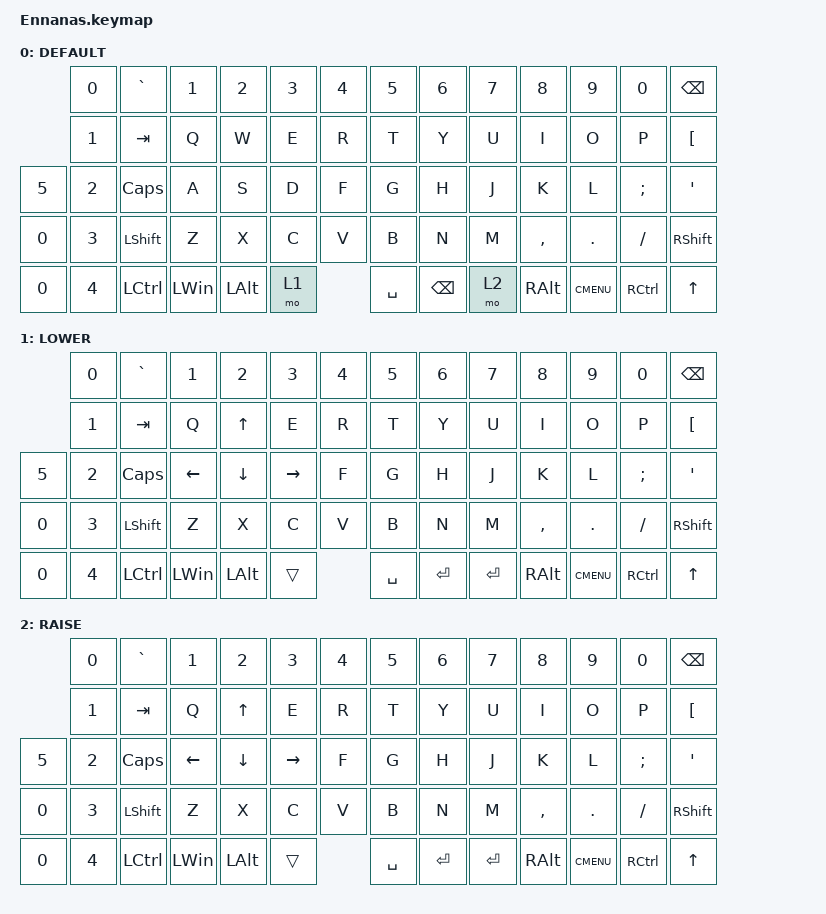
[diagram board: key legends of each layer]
#include <behaviors.dtsi>
#include <dt-bindings/zmk/keys.h>
#define DEFAULT 0
#define LOWER   1
#define RAISE   2
 / {
        keymap {
                compatible = "zmk,keymap";

                DEFAULT {
// -------------------------------------------------------------------------------------------------
//         |  N0  |   | `    |  N1  |  N2  |  N3  |  N4  |  N5   |      |  N6  |  N7  |  N8  |  N9  |  N0   | BSPC  |
//         |  N1  |   | TAB  |  Q   |  W   |  E   |  R   |  T    |      |  Y   |  U   |  I   |  O   |  P    |  .    |
// |  N5   |  N2  |   | CAPS |  A   |  S   |  D   |  F   |  G    |      |  H   |  J   |  K   |  L   |  ;    | '     |
// |  N0   |  N3  |   | SHFT |  Z   |  X   |  C   |  V   |  B    |      |  N   |  M   |  ,   |  .   |  /    | SHFT  |
// |  N0   |  N4  |   | CTRL | WIN  | ALT  |             | SPACE |      | BSPC | SPACE| ALT  | MENU | RCTRL | UP_ARROW


                        bindings = <
        &kp N0   &kp GRAVE   &kp N1    &kp N2   &kp N3   &kp N4   &kp N5          &kp N6   &kp N7    &kp N8    &kp N9       &kp N0     &kp BSPC
        &kp N1   &kp TAB     &kp Q     &kp W    &kp E    &kp R    &kp T           &kp Y    &kp U     &kp I     &kp O        &kp P      &kp LBKT    
&kp N5  &kp N2   &kp CAPS    &kp A     &kp S    &kp D    &kp F    &kp G           &kp H    &kp J     &kp K     &kp L        &kp SCLN   &kp QUOT
&kp N0  &kp N3   &kp LSHFT   &kp Z     &kp X    &kp C    &kp V    &kp B           &kp N    &kp M     &kp COMMA &kp DOT      &kp FSLH   &kp RSHFT
&kp N0  &kp N4   &kp LCTRL   &kp LWIN  &kp LALT    &mo 1          &kp SPACE       &kp BSPC &mo 2     &kp RALT  &kp K_CMENU  &kp RCTRL  &kp UP_ARROW
                        >;
                };

                LOWER {
// -------------------------------------------------------------------------------------------------
//         |  N0  |   | `    |  N1  |  N2  |  N3  |  N4  |  N5   |      |  N6  |  N7  |  N8  |  N9  |  N0   | BSPC  |
//         |  N1  |   | TAB  |  Q   |  W   |  E   |  R   |  T    |      |  Y   |  U   |  I   |  O   |  P    |  .    |
// |  N5   |  N2  |   | CAPS |  A   |  S   |  D   |  F   |  G    |      |  H   |  J   |  K   |  L   |  ;    | '     |
// |  N0   |  N3  |   | SHFT |  Z   |  X   |  C   |  V   |  B    |      |  N   |  M   |  ,   |  .   |  /    | SHFT  |
// |  N0   |  N4  |   | CTRL | WIN  | ALT  |             | SPACE |      | ENTER| SPACE| ALT  | MENU | RCTRL | UP_ARROW


                        bindings = <
        &kp N0   &kp GRAVE   &kp N1    &kp N2   &kp N3   &kp N4   &kp N5          &kp N6   &kp N7    &kp N8    &kp N9       &kp N0     &kp BSPC
        &kp N1   &kp TAB     &kp Q     &kp UP   &kp E    &kp R    &kp T           &kp Y    &kp U     &kp I     &kp O        &kp P      &kp LBKT    
&kp N5  &kp N2   &kp CAPS    &kp LEFT  &kp DOWN &kp RIGHT &kp F   &kp G           &kp H    &kp J     &kp K     &kp L        &kp SCLN   &kp QUOT
&kp N0  &kp N3   &kp LSHFT   &kp Z     &kp X    &kp C    &kp V    &kp B           &kp N    &kp M     &kp COMMA &kp DOT      &kp FSLH   &kp RSHFT
&kp N0  &kp N4   &kp LCTRL   &kp LWIN  &kp LALT    &trans         &kp SPACE       &kp ENTER &kp ENTER &kp RALT  &kp K_CMENU  &kp RCTRL  &kp UP_ARROW
                        >;
                };

                RAISE {
// -------------------------------------------------------------------------------------------------
//         |  N0  |   | `    |  N1  |  N2  |  N3  |  N4  |  N5   |      |  N6  |  N7  |  N8  |  N9  |  N0   | BSPC  |
//         |  N1  |   | TAB  |  Q   |  W   |  E   |  R   |  T    |      |  Y   |  U   |  I   |  O   |  P    |  .    |
// |  N5   |  N2  |   | CAPS |  A   |  S   |  D   |  F   |  G    |      |  H   |  J   |  K   |  L   |  ;    | '     |
// |  N0   |  N3  |   | SHFT |  Z   |  X   |  C   |  V   |  B    |      |  N   |  M   |  ,   |  .   |  /    | SHFT  |
// |  N0   |  N4  |   | CTRL | WIN  | ALT  |             | SPACE |      | ENTER| SPACE| ALT  | MENU | RCTRL | UP_ARROW


                        bindings = <
        &kp N0   &kp GRAVE   &kp N1    &kp N2   &kp N3   &kp N4   &kp N5          &kp N6   &kp N7    &kp N8    &kp N9       &kp N0     &kp BSPC
        &kp N1   &kp TAB     &kp Q     &kp UP   &kp E    &kp R    &kp T           &kp Y    &kp U     &kp I     &kp O        &kp P      &kp LBKT    
&kp N5  &kp N2   &kp CAPS    &kp LEFT  &kp DOWN &kp RIGHT &kp F   &kp G           &kp H    &kp J     &kp K     &kp L        &kp SCLN   &kp QUOT
&kp N0  &kp N3   &kp LSHFT   &kp Z     &kp X    &kp C    &kp V    &kp B           &kp N    &kp M     &kp COMMA &kp DOT      &kp FSLH   &kp RSHFT
&kp N0  &kp N4   &kp LCTRL   &kp LWIN  &kp LALT    &trans         &kp SPACE       &kp ENTER &kp ENTER &kp RALT  &kp K_CMENU  &kp RCTRL  &kp UP_ARROW
                        >;
                };

        };
 };
